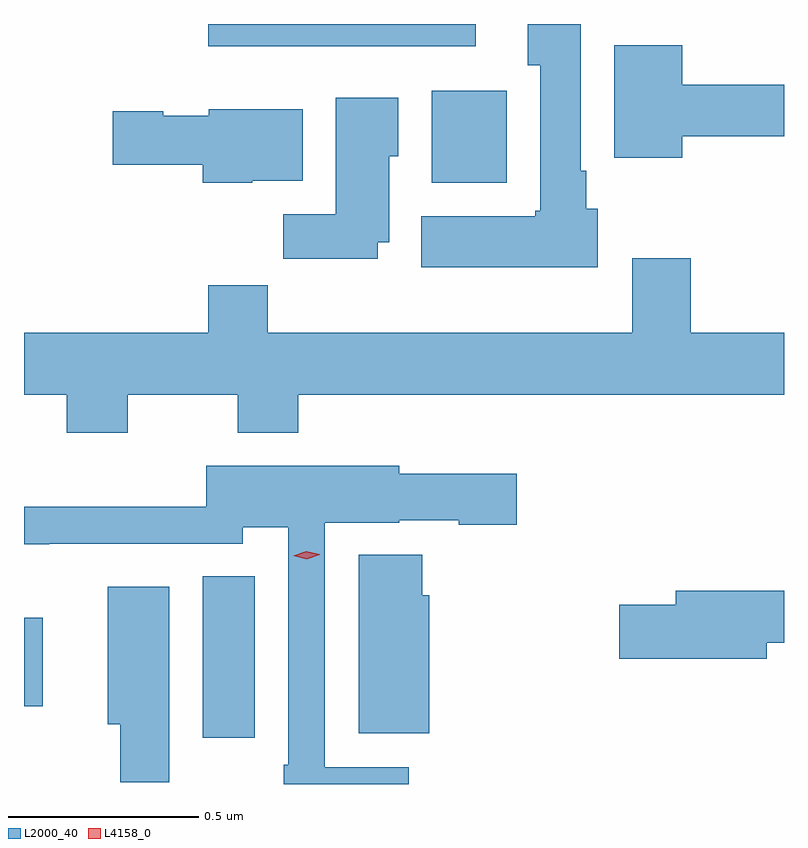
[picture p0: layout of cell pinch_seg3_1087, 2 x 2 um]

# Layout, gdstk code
import gdstk
lib = gdstk.Library(unit=1e-6, precision=1e-09)
def R(c, l, rs):  # rectangles x0, y0, x1, y1
    for r in rs: c.add(gdstk.rectangle(r[:2], r[2:], *l))
def P(c, l, *ps):  # polygons
    for p in ps: c.add(gdstk.Polygon(p, *l))
L2000_40 = (2000, 40)
L4158_0 = (4158, 0)

pinch_seg3_1087 = lib.new_cell('pinch_seg3_1087')
R(pinch_seg3_1087, L2000_40, [(277.46,743.97,277.597,744.395), (276.99,744.053,277.039,744.286), (278.063,745.43,278.26,745.672), (277.475,745.79,278.179,745.848)])
P(pinch_seg3_1087, L2000_40, [(278.5,745.362),(278.47,745.362),(278.47,745.462),(278.455,745.462),(278.455,745.848),(278.315,745.848),(278.315,745.739),(278.348,745.739),(278.348,745.356),(278.335,745.356),(278.335,745.342),(278.036,745.342),(278.036,745.208),(278.5,745.208)],
  [(278.722,745.552),(278.99,745.552),(278.99,745.688),(278.722,745.688),(278.722,745.792),(278.543,745.792),(278.543,745.496),(278.722,745.496)],
  [(277.921,745.274),(277.951,745.274),(277.951,745.5),(277.975,745.5),(277.975,745.654),(277.811,745.654),(277.811,745.348),(277.672,745.348),(277.672,745.23),(277.921,745.23)],
  [(277.59,745.436),(277.723,745.436),(277.723,745.624),(277.476,745.624),(277.476,745.606),(277.356,745.606),(277.356,745.619),(277.224,745.619),(277.224,745.477),(277.46,745.477),(277.46,745.43),(277.59,745.43)],
  [(277.263,744.872),(277.552,744.872),(277.552,744.773),(277.712,744.773),(277.712,744.872),(278.99,744.872),(278.99,745.036),(278.744,745.036),(278.744,745.231),(278.591,745.231),(278.591,745.036),(277.631,745.036),(277.631,745.16),(277.475,745.16),(277.475,745.036),(276.99,745.036),(276.99,744.872),(277.103,744.872),(277.103,744.773),(277.263,744.773)],
  [(278.002,743.892),(277.782,743.892),(277.782,744.536),(277.977,744.536),(277.977,744.542),(278.134,744.542),(278.134,744.53),(278.287,744.53),(278.287,744.664),(277.977,744.664),(277.977,744.685),(277.47,744.685),(277.47,744.578),(276.99,744.578),(276.99,744.479),(277.057,744.479),(277.057,744.48),(277.566,744.48),(277.566,744.524),(277.686,744.524),(277.686,743.899),(277.674,743.899),(277.674,743.848),(278.002,743.848)],
  [(278.056,744.345),(278.038,744.345),(278.038,744.451),(277.871,744.451),(277.871,743.981),(278.056,743.981)],
  [(277.372,744.367),(277.211,744.367),(277.211,744.005),(277.243,744.005),(277.243,743.853),(277.372,743.853)],
  [(278.944,744.22),(278.99,744.22),(278.99,744.356),(278.705,744.356),(278.705,744.32),(278.556,744.32),(278.556,744.178),(278.944,744.178)])
P(pinch_seg3_1087, L4158_0, [(277.734,744.44),(277.699,744.449),(277.699,744.449),(277.699,744.449),(277.733,744.46),(277.768,744.452),(277.768,744.451),(277.768,744.451)])

lib.write_gds('pinch_seg3_1087.gds')
